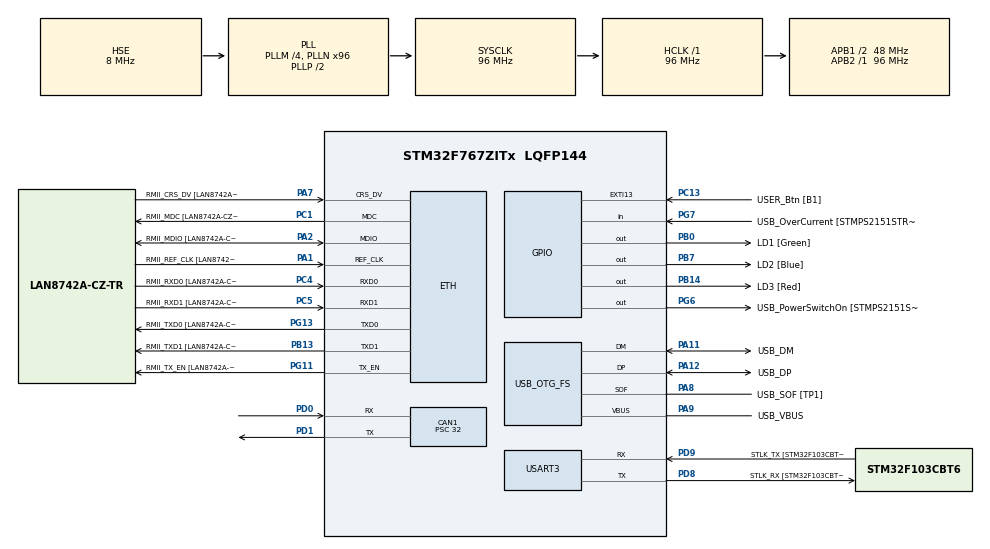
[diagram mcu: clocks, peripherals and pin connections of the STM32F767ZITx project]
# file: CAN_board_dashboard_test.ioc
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CAN1.CalculateBaudRate=500000
CAN1.CalculateTimeBit=2000
CAN1.CalculateTimeQuantum=666.6666666666666
CAN1.Prescaler=32
ETH.MediaInterface=HAL_ETH_RMII_MODE
ETH.PHY_Name=LAN8742A_PHY_ADDRESS
ETH.PHY_Value=0
ETH.PhyAddress=0
Mcu.Family=STM32F7
Mcu.Name=STM32F767ZITx
Mcu.Package=LQFP144
NVIC.CAN1_RX0_IRQn=true\:0\:0\:false\:false\:true\:true\:true\:true
NVIC.PriorityGroup=NVIC_PRIORITYGROUP_4
PA1.GPIO_Label=RMII_REF_CLK [LAN8742A-CZ-TR_REFCLK0]
PA1.Mode=RMII
PA1.Signal=ETH_REF_CLK
PA10.GPIO_Label=USB_ID
PA10.Signal=USB_OTG_FS_ID
PA11.GPIO_Label=USB_DM
PA11.Mode=Device_Only
PA11.Signal=USB_OTG_FS_DM
PA12.GPIO_Label=USB_DP
PA12.Mode=Device_Only
PA12.Signal=USB_OTG_FS_DP
PA13.GPIO_Label=TMS
PA13.Mode=Serial_Wire
PA13.Signal=SYS_JTMS-SWDIO
PA14.GPIO_Label=TCK
PA14.Mode=Serial_Wire
PA14.Signal=SYS_JTCK-SWCLK
PA2.GPIO_Label=RMII_MDIO [LAN8742A-CZ-TR_MDIO]
PA2.Mode=RMII
PA2.Signal=ETH_MDIO
PA7.GPIO_Label=RMII_CRS_DV [LAN8742A-CZ-TR_CRS_DV]
PA7.Mode=RMII
PA7.Signal=ETH_CRS_DV
PA8.GPIO_Label=USB_SOF [TP1]
PA8.Mode=Activate_SOF_FS
PA8.Signal=USB_OTG_FS_SOF
PA9.GPIO_Label=USB_VBUS
PA9.Mode=Activate_VBUS
PA9.Signal=USB_OTG_FS_VBUS
PB0.GPIO_Label=LD1 [Green]
PB0.Signal=GPIO_Output
PB13.GPIO_Label=RMII_TXD1 [LAN8742A-CZ-TR_TXD1]
PB13.Mode=RMII
PB13.Signal=ETH_TXD1
PB14.GPIO_Label=LD3 [Red]
PB14.Signal=GPIO_Output
PB3.GPIO_Label=SWO
PB3.Signal=SYS_JTDO-SWO
PB7.GPIO_Label=LD2 [Blue]
PB7.Signal=GPIO_Output
PC1.GPIO_Label=RMII_MDC [LAN8742A-CZ-TR_MDC]
PC1.Mode=RMII
PC1.Signal=ETH_MDC
PC13.GPIO_Label=USER_Btn [B1]
PC13.Signal=GPXTI13
PC14/OSC32_IN.Mode=LSE-External-Oscillator
PC14/OSC32_IN.Signal=RCC_OSC32_IN
PC15/OSC32_OUT.Mode=LSE-External-Oscillator
PC15/OSC32_OUT.Signal=RCC_OSC32_OUT
PC4.GPIO_Label=RMII_RXD0 [LAN8742A-CZ-TR_RXD0]
PC4.Mode=RMII
PC4.Signal=ETH_RXD0
PC5.GPIO_Label=RMII_RXD1 [LAN8742A-CZ-TR_RXD1]
PC5.Mode=RMII
PC5.Signal=ETH_RXD1
PD0.GPIO_PuPd=GPIO_PULLUP
PD0.Mode=CAN_Activate
PD0.Signal=CAN1_RX
PD1.Mode=CAN_Activate
PD1.Signal=CAN1_TX
PD8.GPIO_Label=STLK_RX [STM32F103CBT6_PA3]
PD8.Mode=Asynchronous
PD8.Signal=USART3_TX
PD9.GPIO_Label=STLK_TX [STM32F103CBT6_PA2]
PD9.Mode=Asynchronous
PD9.Signal=USART3_RX
PG11.GPIO_Label=RMII_TX_EN [LAN8742A-CZ-TR_TXEN]
PG11.Mode=RMII
PG11.Signal=ETH_TX_EN
PG13.GPIO_Label=RMII_TXD0 [LAN8742A-CZ-TR_TXD0]
PG13.Mode=RMII
PG13.Signal=ETH_TXD0
PG6.GPIO_Label=USB_PowerSwitchOn [STMPS2151STR_EN]
PG6.Signal=GPIO_Output
PG7.GPIO_Label=USB_OverCurrent [STMPS2151STR_FAULT]
PG7.Signal=GPIO_Input
PH0/OSC_IN.GPIO_Label=MCO [STM32F103CBT6_PA8]
PH0/OSC_IN.Mode=HSE-External-Clock-Source
PH0/OSC_IN.Signal=RCC_OSC_IN
PH1/OSC_OUT.Mode=HSE-External-Clock-Source
PH1/OSC_OUT.Signal=RCC_OSC_OUT
ProjectManager.HeapSize=0x200
ProjectManager.StackSize=0x400
ProjectManager.TargetToolchain=STM32CubeIDE
RCC.48MHZClocksFreq_Value=24000000
RCC.AHBFreq_Value=96000000
RCC.APB1CLKDivider=RCC_HCLK_DIV2
RCC.APB1Freq_Value=48000000
RCC.APB1TimFreq_Value=96000000
RCC.APB2Freq_Value=96000000
RCC.APB2TimFreq_Value=96000000
RCC.CortexFreq_Value=96000000
RCC.HCLKFreq_Value=96000000
RCC.HSE_VALUE=8000000
RCC.HSI_VALUE=16000000
RCC.PLLM=4
RCC.PLLMUL=RCC_PLL_MUL9
RCC.PLLN=96
RCC.PLLQ=4
RCC.PRESCALERUSB=RCC_USBCLKSOURCE_PLL_DIV1_5
RCC.SYSCLKFreq_VALUE=96000000
RCC.SYSCLKSource=RCC_SYSCLKSOURCE_PLLCLK
RCC.SYSCLKSourceVirtual=RCC_SYSCLKSOURCE_PLLCLK
RCC.USBFreq_Value=48000000
RCC.VCOOutputFreq_Value=192000000
USART3.VirtualMode-Asynchronous=VM_ASYNC
USB_OTG_FS.VirtualMode=Device_Only
board=NUCLEO-F767ZI

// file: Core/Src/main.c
/* USER CODE BEGIN Header */
/**
  ******************************************************************************
  * @file           : main.c
  * @brief          : Main program body
  ******************************************************************************
  * @attention
  *
  * Copyright (c) 2024 STMicroelectronics.
  * All rights reserved.
  *
  * This software is licensed under terms that can be found in the LICENSE file
  * in the root directory of this software component.
  * If no LICENSE file comes with this software, it is provided AS-IS.
  *
  ******************************************************************************
  */
/* USER CODE END Header */
#include "main.h"
#include "string.h"

#if defined ( __ICCARM__ ) /*!< IAR Compiler */
#pragma location=0x2007c000
ETH_DMADescTypeDef  DMARxDscrTab[ETH_RX_DESC_CNT]; /* Ethernet Rx DMA Descriptors */
#pragma location=0x2007c0a0
ETH_DMADescTypeDef  DMATxDscrTab[ETH_TX_DESC_CNT]; /* Ethernet Tx DMA Descriptors */

#elif defined ( __CC_ARM )  /* MDK ARM Compiler */

__attribute__((at(0x2007c000))) ETH_DMADescTypeDef  DMARxDscrTab[ETH_RX_DESC_CNT]; /* Ethernet Rx DMA Descriptors */
__attribute__((at(0x2007c0a0))) ETH_DMADescTypeDef  DMATxDscrTab[ETH_TX_DESC_CNT]; /* Ethernet Tx DMA Descriptors */

#elif defined ( __GNUC__ ) /* GNU Compiler */
ETH_DMADescTypeDef DMARxDscrTab[ETH_RX_DESC_CNT] __attribute__((section(".RxDecripSection"))); /* Ethernet Rx DMA Descriptors */
ETH_DMADescTypeDef DMATxDscrTab[ETH_TX_DESC_CNT] __attribute__((section(".TxDecripSection")));   /* Ethernet Tx DMA Descriptors */

#endif

ETH_TxPacketConfig TxConfig;

CAN_HandleTypeDef hcan1;

ETH_HandleTypeDef heth;

UART_HandleTypeDef huart3;

PCD_HandleTypeDef hpcd_USB_OTG_FS;

void SystemClock_Config(void);
static void MX_GPIO_Init(void);
static void MX_ETH_Init(void);
static void MX_USART3_UART_Init(void);
static void MX_USB_OTG_FS_PCD_Init(void);
static void MX_CAN1_Init(void);
/* USER CODE BEGIN PFP */

CAN_TxHeaderTypeDef TxHeader;
CAN_RxHeaderTypeDef RxHeader;

uint8_t TxData[8];
uint8_t RxData[8];

uint8_t datacheck;

void HAL_CAN_RxFifo0MsgPendingCallback(CAN_HandleTypeDef *hcan)
{
	HAL_CAN_GetRxMessage(hcan, CAN_RX_FIFO0, &RxHeader, RxData);
	if (RxHeader.DLC == 2)
	{
		datacheck = 1;
	}
	print("got a message");
}

/* USER CODE END PFP */

/* USER CODE BEGIN 0 */
void print(char *str) {
	HAL_UART_Transmit(&huart3, (uint8_t*) str, strlen(str), HAL_MAX_DELAY);
}
/* USER CODE END 0 */

int main(void)
{

  /* MCU Configuration--------------------------------------------------------*/

  /* Reset of all peripherals, Initializes the Flash interface and the Systick. */
  HAL_Init();

  /* Configure the system clock */
  SystemClock_Config();

  /* Initialize all configured peripherals */
  MX_GPIO_Init();
  MX_ETH_Init();
  MX_USART3_UART_Init();
  MX_USB_OTG_FS_PCD_Init();
  MX_CAN1_Init();
  /* USER CODE BEGIN 2 */

  HAL_CAN_Start(&hcan1);
//  if (HAL_CAN_ActivateNotification(&hcan1, CAN_IT_RX_FIFO0_MSG_PENDING) != HAL_OK)
//    {
//  	  Error_Handler();
//  	  print("notifications failed to activate");
//    }
//  else {
//	  print("notifications activated");
//  }

  /* USER CODE END 2 */

  /* Infinite loop */
  while (1)
  {
	  int numMessages = HAL_CAN_GetRxFifoFillLevel(&hcan1, 0);
	  if (numMessages > 0) print("i have message");
  }
}

void SystemClock_Config(void)
{
  RCC_OscInitTypeDef RCC_OscInitStruct = {0};
  RCC_ClkInitTypeDef RCC_ClkInitStruct = {0};

  /** Configure LSE Drive Capability
  */
  HAL_PWR_EnableBkUpAccess();

  /** Configure the main internal regulator output voltage
  */
  __HAL_RCC_PWR_CLK_ENABLE();
  __HAL_PWR_VOLTAGESCALING_CONFIG(PWR_REGULATOR_VOLTAGE_SCALE3);

  /** Initializes the RCC Oscillators according to the specified parameters
  * in the RCC_OscInitTypeDef structure.
  */
  RCC_OscInitStruct.OscillatorType = RCC_OSCILLATORTYPE_HSE;
  RCC_OscInitStruct.HSEState = RCC_HSE_BYPASS;
  RCC_OscInitStruct.PLL.PLLState = RCC_PLL_ON;
  RCC_OscInitStruct.PLL.PLLSource = RCC_PLLSOURCE_HSE;
  RCC_OscInitStruct.PLL.PLLM = 4;
  RCC_OscInitStruct.PLL.PLLN = 96;
  RCC_OscInitStruct.PLL.PLLP = RCC_PLLP_DIV2;
  RCC_OscInitStruct.PLL.PLLQ = 4;
  RCC_OscInitStruct.PLL.PLLR = 2;
  if (HAL_RCC_OscConfig(&RCC_OscInitStruct) != HAL_OK)
  {
    Error_Handler();
  }

  /** Activate the Over-Drive mode
  */
  if (HAL_PWREx_EnableOverDrive() != HAL_OK)
  {
    Error_Handler();
  }

  /** Initializes the CPU, AHB and APB buses clocks
  */
  RCC_ClkInitStruct.ClockType = RCC_CLOCKTYPE_HCLK|RCC_CLOCKTYPE_SYSCLK
                              |RCC_CLOCKTYPE_PCLK1|RCC_CLOCKTYPE_PCLK2;
  RCC_ClkInitStruct.SYSCLKSource = RCC_SYSCLKSOURCE_PLLCLK;
  RCC_ClkInitStruct.AHBCLKDivider = RCC_SYSCLK_DIV1;
  RCC_ClkInitStruct.APB1CLKDivider = RCC_HCLK_DIV2;
  RCC_ClkInitStruct.APB2CLKDivider = RCC_HCLK_DIV1;

  if (HAL_RCC_ClockConfig(&RCC_ClkInitStruct, FLASH_LATENCY_3) != HAL_OK)
  {
    Error_Handler();
  }
}

static void MX_CAN1_Init(void)
{

  hcan1.Instance = CAN1;
  hcan1.Init.Prescaler = 32;
  hcan1.Init.Mode = CAN_MODE_NORMAL;
  hcan1.Init.SyncJumpWidth = CAN_SJW_1TQ;
  hcan1.Init.TimeSeg1 = CAN_BS1_1TQ;
  hcan1.Init.TimeSeg2 = CAN_BS2_1TQ;
  hcan1.Init.TimeTriggeredMode = DISABLE;
  hcan1.Init.AutoBusOff = DISABLE;
  hcan1.Init.AutoWakeUp = DISABLE;
  hcan1.Init.AutoRetransmission = DISABLE;
  hcan1.Init.ReceiveFifoLocked = DISABLE;
  hcan1.Init.TransmitFifoPriority = DISABLE;
  if (HAL_CAN_Init(&hcan1) != HAL_OK)
  {
    Error_Handler();
  }
  /* USER CODE BEGIN CAN1_Init 2 */

  CAN_FilterTypeDef canfilterconfig;

    canfilterconfig.FilterActivation = CAN_FILTER_ENABLE;
    canfilterconfig.FilterBank = 18;  // which filter bank to use from the assigned ones
    canfilterconfig.FilterFIFOAssignment = CAN_FILTER_FIFO0;
    canfilterconfig.FilterIdHigh = 0x123<<5;
    canfilterconfig.FilterIdLow = 0;
    canfilterconfig.FilterMaskIdHigh = 0x123<<5;
    canfilterconfig.FilterMaskIdLow = 0x0000;
    canfilterconfig.FilterMode = CAN_FILTERMODE_IDMASK;
    canfilterconfig.FilterScale = CAN_FILTERSCALE_32BIT;
    canfilterconfig.SlaveStartFilterBank = 20;  // how many filters to assign to the CAN1 (master can)

    HAL_CAN_ConfigFilter(&hcan1, &canfilterconfig);

  /* USER CODE END CAN1_Init 2 */

}

static void MX_ETH_Init(void)
{

   static uint8_t MACAddr[6];

  heth.Instance = ETH;
  MACAddr[0] = 0x00;
  MACAddr[1] = 0x80;
  MACAddr[2] = 0xE1;
  MACAddr[3] = 0x00;
  MACAddr[4] = 0x00;
  MACAddr[5] = 0x00;
  heth.Init.MACAddr = &MACAddr[0];
  heth.Init.MediaInterface = HAL_ETH_RMII_MODE;
  heth.Init.TxDesc = DMATxDscrTab;
  heth.Init.RxDesc = DMARxDscrTab;
  heth.Init.RxBuffLen = 1524;

  if (HAL_ETH_Init(&heth) != HAL_OK)
  {
    Error_Handler();
  }

  memset(&TxConfig, 0 , sizeof(ETH_TxPacketConfig));
  TxConfig.Attributes = ETH_TX_PACKETS_FEATURES_CSUM | ETH_TX_PACKETS_FEATURES_CRCPAD;
  TxConfig.ChecksumCtrl = ETH_CHECKSUM_IPHDR_PAYLOAD_INSERT_PHDR_CALC;
  TxConfig.CRCPadCtrl = ETH_CRC_PAD_INSERT;

}

static void MX_USART3_UART_Init(void)
{

  huart3.Instance = USART3;
  huart3.Init.BaudRate = 115200;
  huart3.Init.WordLength = UART_WORDLENGTH_8B;
  huart3.Init.StopBits = UART_STOPBITS_1;
  huart3.Init.Parity = UART_PARITY_NONE;
  huart3.Init.Mode = UART_MODE_TX_RX;
  huart3.Init.HwFlowCtl = UART_HWCONTROL_NONE;
  huart3.Init.OverSampling = UART_OVERSAMPLING_16;
  huart3.Init.OneBitSampling = UART_ONE_BIT_SAMPLE_DISABLE;
  huart3.AdvancedInit.AdvFeatureInit = UART_ADVFEATURE_NO_INIT;
  if (HAL_UART_Init(&huart3) != HAL_OK)
  {
    Error_Handler();
  }

}

static void MX_USB_OTG_FS_PCD_Init(void)
{

  hpcd_USB_OTG_FS.Instance = USB_OTG_FS;
  hpcd_USB_OTG_FS.Init.dev_endpoints = 6;
  hpcd_USB_OTG_FS.Init.speed = PCD_SPEED_FULL;
  hpcd_USB_OTG_FS.Init.dma_enable = DISABLE;
  hpcd_USB_OTG_FS.Init.phy_itface = PCD_PHY_EMBEDDED;
  hpcd_USB_OTG_FS.Init.Sof_enable = ENABLE;
  hpcd_USB_OTG_FS.Init.low_power_enable = DISABLE;
  hpcd_USB_OTG_FS.Init.lpm_enable = DISABLE;
  hpcd_USB_OTG_FS.Init.vbus_sensing_enable = ENABLE;
  hpcd_USB_OTG_FS.Init.use_dedicated_ep1 = DISABLE;
  if (HAL_PCD_Init(&hpcd_USB_OTG_FS) != HAL_OK)
  {
    Error_Handler();
  }

}

static void MX_GPIO_Init(void)
{
  GPIO_InitTypeDef GPIO_InitStruct = {0};

  /* GPIO Ports Clock Enable */
  __HAL_RCC_GPIOC_CLK_ENABLE();
  __HAL_RCC_GPIOH_CLK_ENABLE();
  __HAL_RCC_GPIOA_CLK_ENABLE();
  __HAL_RCC_GPIOB_CLK_ENABLE();
  __HAL_RCC_GPIOD_CLK_ENABLE();
  __HAL_RCC_GPIOG_CLK_ENABLE();

  /*Configure GPIO pin Output Level */
  HAL_GPIO_WritePin(GPIOB, LD1_Pin|LD3_Pin|LD2_Pin, GPIO_PIN_RESET);

  /*Configure GPIO pin Output Level */
  HAL_GPIO_WritePin(USB_PowerSwitchOn_GPIO_Port, USB_PowerSwitchOn_Pin, GPIO_PIN_RESET);

  /*Configure GPIO pin : USER_Btn_Pin */
  GPIO_InitStruct.Pin = USER_Btn_Pin;
  GPIO_InitStruct.Mode = GPIO_MODE_IT_RISING;
  GPIO_InitStruct.Pull = GPIO_NOPULL;
  HAL_GPIO_Init(USER_Btn_GPIO_Port, &GPIO_InitStruct);

  /*Configure GPIO pins : LD1_Pin LD3_Pin LD2_Pin */
  GPIO_InitStruct.Pin = LD1_Pin|LD3_Pin|LD2_Pin;
  GPIO_InitStruct.Mode = GPIO_MODE_OUTPUT_PP;
  GPIO_InitStruct.Pull = GPIO_NOPULL;
  GPIO_InitStruct.Speed = GPIO_SPEED_FREQ_LOW;
  HAL_GPIO_Init(GPIOB, &GPIO_InitStruct);

  /*Configure GPIO pin : USB_PowerSwitchOn_Pin */
  GPIO_InitStruct.Pin = USB_PowerSwitchOn_Pin;
  GPIO_InitStruct.Mode = GPIO_MODE_OUTPUT_PP;
  GPIO_InitStruct.Pull = GPIO_NOPULL;
  GPIO_InitStruct.Speed = GPIO_SPEED_FREQ_LOW;
  HAL_GPIO_Init(USB_PowerSwitchOn_GPIO_Port, &GPIO_InitStruct);

  /*Configure GPIO pin : USB_OverCurrent_Pin */
  GPIO_InitStruct.Pin = USB_OverCurrent_Pin;
  GPIO_InitStruct.Mode = GPIO_MODE_INPUT;
  GPIO_InitStruct.Pull = GPIO_NOPULL;
  HAL_GPIO_Init(USB_OverCurrent_GPIO_Port, &GPIO_InitStruct);

}

void Error_Handler(void)
{
  __disable_irq();
  while (1)
  {
  }
}
